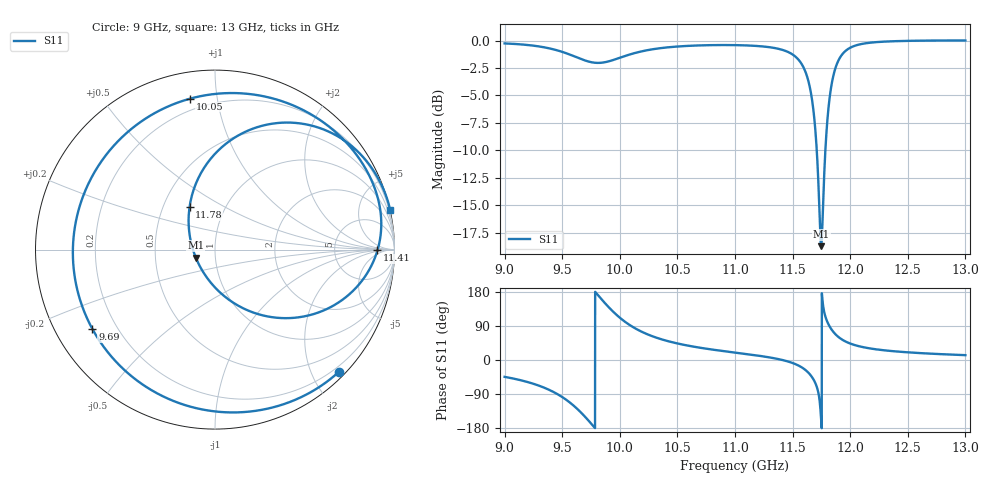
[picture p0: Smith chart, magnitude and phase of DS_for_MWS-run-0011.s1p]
! TOUCHSTONE file generated by CST DESIGN STUDIO
! Date and time: Tue Feb  4 16:00:45 2025
! Project name: C:\Work\MatlabApps\UnitCellOptimizationMatlab\CST\unitcell.cst
! Tree item: Tasks\Sweep1\SPara1\S-Parameters
! Header version: 2024
! Port assignment regex: !\s*Touchstone port\s*([0-9]+)\s*=\s*(CST MWS port|CST DES external port|CST DES block port)\s*(.+)\s* \(\"(.*)\"\)(\s*mode\s*([0-9]+))?.*
! Touchstone port assignment:
! Touchstone port 1 = CST DES external port 1 ("")
# GHz S MA R 50
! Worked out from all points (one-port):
!   4001 points, 9 GHz to 13 GHz, reference 50 ohm
!   lowest |S11| = -18.7 dB at 11.75 GHz (marker M1), VSWR 1.26, Z = 40.2 - j3.59 ohm
!   |S11| at or under -10 dB: 11.71 GHz to 11.78 GHz (74.74 MHz wide, 0.636 % of centre)
!   S11 on the Smith chart (normalised r, x): 9 GHz: 0.11, -2.44; 9.69 GHz: 0.11, -0.29; 10.05 GHz: 0.14, +0.84; 11.41 GHz: 20, -1; 11.78 GHz: 0.68, +0.35; 13 GHz: -0.01, +8.91
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9  0.9698 -44.5
9.275  0.9437 -65.3
9.5  0.8878 -97.7
9.598  0.85 -120.1
9.69  0.8139 -147.1
9.761  0.795 -171.2
9.828  0.7912 165.0
9.917  0.8073 135.1
10  0.8344 111.6
10.052  0.8524 99.4
10.257  0.9072 65.7
10.5  0.9389 43.7
11  0.9528 19.5
11.415  0.9053 -0.2
11.5  0.8636 -7.9
11.591  0.7611 -21.7
11.66  0.5739 -41.6
11.705  0.3457 -66.5
11.735  0.1571 -108.7
11.748  0.1157 -157.6
11.779  0.2777 120.6
11.813  0.5016 93.2
11.861  0.7159 71.6
11.926  0.8585 54.6
12  0.9269 43.5
12.178  0.9779 30.2
12.5  0.9963 20.2
13  1 12.8
